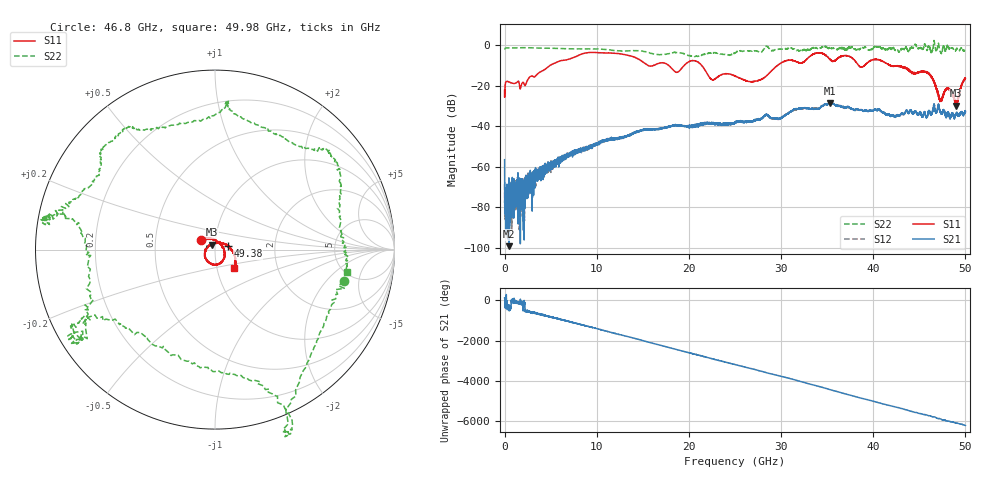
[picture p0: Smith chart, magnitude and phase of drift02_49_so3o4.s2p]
!Created with skrf (http://scikit-rf.org).
# Hz S RI R 50.0
!freq ReS11 ImS11 ReS21 ImS21 ReS12 ImS12 ReS22 ImS22
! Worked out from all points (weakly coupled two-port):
!   10001 points, 300 kHz to 50 GHz, reference 50 ohm
!   highest |S21| = -28.54 dB at 35.31 GHz (marker M1); lowest = -99.1 dB at 500.3 MHz (marker M2)
!   lowest |S11| = -29.9 dB at 48.99 GHz (marker M3), VSWR 1.07, Z = 48.4 + j2.7 ohm
!   |S11| at or under -10 dB: start of sweep to 4.957 GHz; 21.38 GHz to 29.62 GHz (8.244 GHz wide, 32.3 % of centre); 41.83 GHz to end of sweep (the widest 3 of 10)
!   |S22| runs from -5.7 to 2.2 dB; largest |S21 - S12| = 0.0028
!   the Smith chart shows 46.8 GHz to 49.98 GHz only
!   S11 on the Smith chart (normalised r, x): 46.8 GHz: 0.85, +0.09; 49.38 GHz: 1.15, +0.05; 49.98 GHz: 1.21, -0.26
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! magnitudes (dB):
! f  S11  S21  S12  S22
! 300 kHz  -22.2  -56.5  -68.6  -2.1
! 255.3 MHz  -17.9  -82.5  -74.6  -1.4
! 500.3 MHz  -18.3  -99.1  -76.4  -1.5
! 1.87 GHz  -19.1  -69.8  -69.1  -1.3
! 8.335 GHz  -4.5  -52.0  -52.3  -1.9
! 16.67 GHz  -9.1  -41.4  -41.5  -4.7
! 18.7 GHz  -13.5  -39.5  -39.5  -3.7
! 20.59 GHz  -7.7  -40.0  -39.6  -5.7
! 22.51 GHz  -17.1  -38.8  -38.8  -3.7
! 25 GHz  -15.3  -38.3  -38.2  -3.9
! 27.43 GHz  -17.6  -36.6  -36.6  -3.1
! 33.34 GHz  -4.9  -31.4  -31.3  -1.6
! 35.31 GHz  -7.1  -28.5  -28.7  -1.4
! 41.67 GHz  -9.7  -34.3  -34.2  -2.0
! 45.79 GHz  -13.6  -35.4  -35.6  -2.3
! 46.8 GHz  -20.6  -33.4  -32.9  -2.6
! 47.28 GHz  -27.0  -33.2  -33.2  -3.3
! 48.14 GHz  -21.5  -33.5  -33.3  -0.8
! 48.99 GHz  -29.9  -34.1  -34.0  -2.3
! 49.38 GHz  -22.6  -34.7  -34.0  -2.6
! 49.98 GHz  -16.5  -33.3  -32.8  -2.5
! 50 GHz  -16.3  -32.8  -32.8  -2.6
